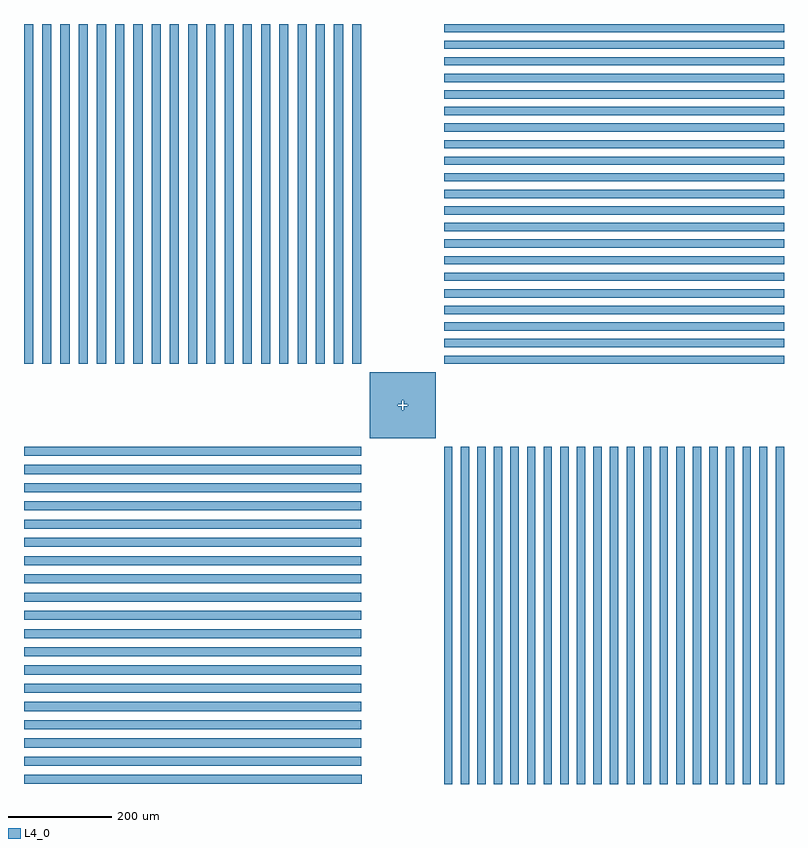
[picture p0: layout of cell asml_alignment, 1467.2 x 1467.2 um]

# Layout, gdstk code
import gdstk
lib = gdstk.Library(unit=1e-6, precision=1e-09)
def R(c, l, rs):  # rectangles x0, y0, x1, y1
    for r in rs: c.add(gdstk.rectangle(r[:2], r[2:], *l))
def A(c, l, x, y, w, h, nx, ny, dx, dy):  # array of equal rectangles
    R(c, l, [(x+i*dx, y+j*dy, x+i*dx+w, y+j*dy+h) for i in range(nx) for j in range(ny)])
def P(c, l, *ps):  # polygons
    for p in ps: c.add(gdstk.Polygon(p, *l))
L4_0 = (4, 0)

asml_alignment = lib.new_cell('asml_alignment')
A(asml_alignment, L4_0, 810.684, -0.507, 16, 651.2, 21, 1, 32, 0)
A(asml_alignment, L4_0, -0.516, 34.693, 651.2, 17.6, 1, 18, 0, 35.2)
A(asml_alignment, L4_0, -0.516, 810.693, 17.6, 656, 19, 1, 35.2, 0)
A(asml_alignment, L4_0, 810.684, 810.693, 656, 16, 1, 21, 0, 32)
R(asml_alignment, L4_0, [(0,0,651.2,17.6)])
P(asml_alignment, L4_0, [(666.684,666.693),(666.684,794.693),(794.684,794.693),(794.684,666.693),(720.684,666.693),(720.684,728.693),(728.684,728.693),(728.684,720.693),(732.684,720.693),(732.684,728.693),(740.684,728.693),(740.684,732.693),(732.684,732.693),(732.684,740.693),(728.684,740.693),(728.684,732.693),(720.684,732.693),(720.684,666.693)],
  [(730.398,732.982),(730.398,732.982),(730.398,732.982),(730.398,732.982)])

lib.write_gds('asml_alignment.gds')
